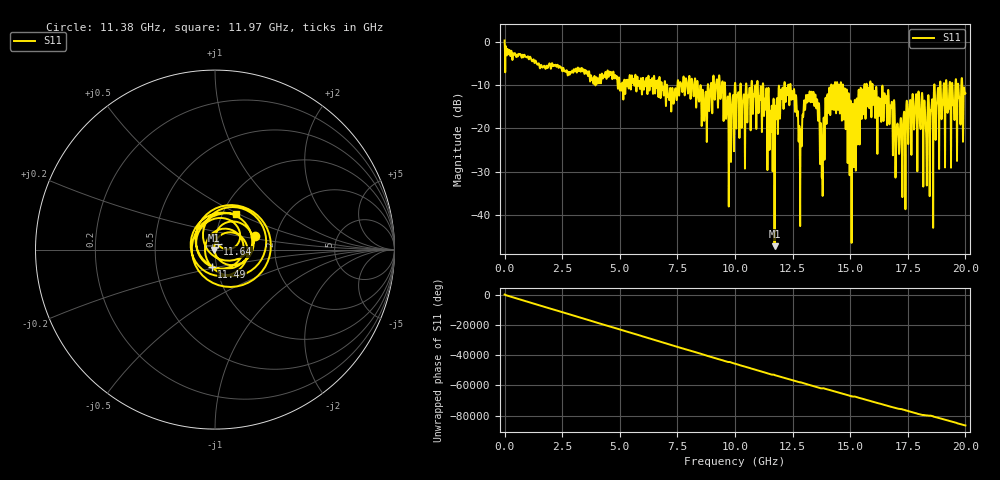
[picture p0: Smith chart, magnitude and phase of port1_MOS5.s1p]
! MS46122B
! 2250307/22442219
! 7/23/2025 1:07:22 PM
! C:\USERS\SPARKY\DOCUMENTS\VNA_DATA\JULY23_2025\295K\PORT1_MOS5.S1P
! CHANNEL.1
! TR.MEASUREMENT
! RAW.DATA
# GHZ S RI R 50.0
! FREQ.GHZ  S11RE  S11IM
!; PortSelection: Port_1
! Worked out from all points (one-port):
!   10001 points, 1 MHz to 20 GHz, reference 50 ohm
!   lowest |S11| = -47.3 dB at 11.72 GHz (marker M1), VSWR 1.01, Z = 49.6 - j0.136 ohm
!   |S11| at or under -10 dB: 12.41 GHz to 14.17 GHz (1.758 GHz wide, 13.2 % of centre); 14.69 GHz to 15.61 GHz (925.5 MHz wide, 6.11 % of centre); 15.97 GHz to 18.65 GHz (2.671 GHz wide, 15.4 % of centre) (the widest 3 of 73)
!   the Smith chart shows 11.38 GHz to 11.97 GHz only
!   S11 on the Smith chart (normalised r, x): 11.38 GHz: 1.56, +0.26; 11.49 GHz: 0.95, -0.18; 11.64 GHz: 1.03, +0.07; 11.97 GHz: 1.15, +0.48
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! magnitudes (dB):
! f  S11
! 1 MHz  0.4
! 2.501 GHz  -6.7
! 5.001 GHz  -11.0
! 7.501 GHz  -10.2
! 9.383 GHz  -12.7
! 9.795 GHz  -13.6
! 10 GHz  -9.5
! 11.38 GHz  -12.4
! 11.49 GHz  -20.2
! 11.64 GHz  -28.9
! 11.72 GHz  -47.3
! 11.97 GHz  -12.8
! 12.5 GHz  -12.0
! 12.83 GHz  -37.1
! 13.24 GHz  -11.4
! 13.57 GHz  -13.3
! 13.79 GHz  -29.0
! 14.01 GHz  -12.3
! 14.26 GHz  -10.0
! 15 GHz  -15.4
! 15.79 GHz  -10.6
! 16.73 GHz  -15.7
! 17.05 GHz  -18.9
! 17.5 GHz  -19.8
! 18.04 GHz  -19.8
! 18.37 GHz  -13.6
! 18.73 GHz  -16.5
! 20 GHz  -11.9
